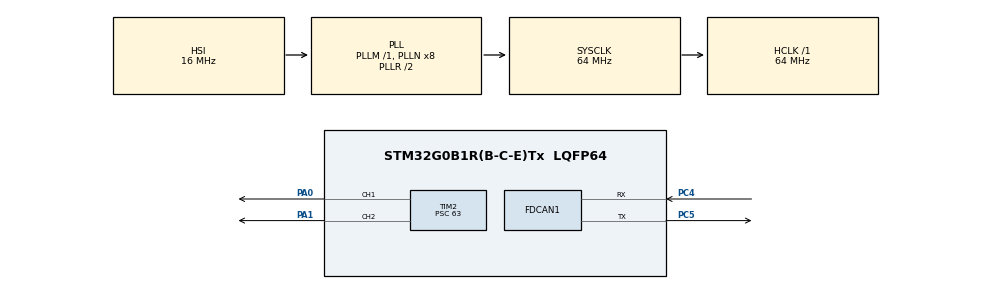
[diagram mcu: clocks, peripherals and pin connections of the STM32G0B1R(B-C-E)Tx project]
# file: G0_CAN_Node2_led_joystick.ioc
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FDCAN1.AutoRetransmission=ENABLE
FDCAN1.CalculateBaudRateNominal=500000
FDCAN1.CalculateTimeBitNominal=2000
FDCAN1.CalculateTimeQuantumNominal=125.0
FDCAN1.Mode=FDCAN_MODE_NORMAL
FDCAN1.NominalPrescaler=8
FDCAN1.NominalTimeSeg1=13
FDCAN1.NominalTimeSeg2=2
FDCAN1.StdFiltersNbr=1
Mcu.Family=STM32G0
Mcu.Name=STM32G0B1R(B-C-E)Tx
Mcu.Package=LQFP64
NVIC.TIM16_FDCAN_IT0_IRQn=true\:0\:0\:false\:false\:true\:true\:true\:true
PA0.PinState=GPIO_PIN_SET
PA0.Signal=S_TIM2_CH1_ETR
PA1.PinState=GPIO_PIN_SET
PA1.Signal=S_TIM2_CH2
PA13.Mode=Serial_Wire
PA13.Signal=SYS_SWDIO
PA14-BOOT0.Mode=Serial_Wire
PA14-BOOT0.Signal=SYS_SWCLK
PC4.Mode=FDCAN_Activate
PC4.Signal=FDCAN1_RX
PC5.Mode=FDCAN_Activate
PC5.Signal=FDCAN1_TX
PF0-OSC_IN\ (PF0).Mode=HSE-External-Oscillator
PF0-OSC_IN\ (PF0).Signal=RCC_OSC_IN
PF1-OSC_OUT\ (PF1).Mode=HSE-External-Oscillator
PF1-OSC_OUT\ (PF1).Signal=RCC_OSC_OUT
ProjectManager.HeapSize=0x200
ProjectManager.StackSize=0x400
ProjectManager.TargetToolchain=STM32CubeIDE
RCC.ADCFreq_Value=64000000
RCC.AHBFreq_Value=64000000
RCC.CortexFreq_Value=64000000
RCC.EXTERNAL_CLOCK_VALUE=48000
RCC.HCLKFreq_Value=64000000
RCC.HSE_VALUE=8000000
RCC.HSI48_VALUE=48000000
RCC.HSI_VALUE=16000000
RCC.LSE_VALUE=32768
RCC.SYSCLKFreq_VALUE=64000000
RCC.SYSCLKSource=RCC_SYSCLKSOURCE_PLLCLK
RCC.USBFreq_Value=48000000
RCC.VCOOutputFreq_Value=128000000
SH.S_TIM2_CH1_ETR.0=TIM2_CH1,PWM Generation1 CH1
SH.S_TIM2_CH2.0=TIM2_CH2,PWM Generation2 CH2
TIM2.Channel-PWM\ Generation1\ CH1=TIM_CHANNEL_1
TIM2.Channel-PWM\ Generation2\ CH2=TIM_CHANNEL_2
TIM2.Period=4095
TIM2.Prescaler=63
VP_SYS_VS_DBSignals.Mode=DisableDeadBatterySignals
board=custom

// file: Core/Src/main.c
/* USER CODE BEGIN Header */
/**
  ******************************************************************************
  * @file           : main.c
  * @brief          : Main program body
  ******************************************************************************
  * @attention
  *
  * Copyright (c) 2026 STMicroelectronics.
  * All rights reserved.
  *
  * This software is licensed under terms that can be found in the LICENSE file
  * in the root directory of this software component.
  * If no LICENSE file comes with this software, it is provided AS-IS.
  *
  ******************************************************************************
  */
/* USER CODE END Header */
#include "main.h"

FDCAN_HandleTypeDef hfdcan1;

TIM_HandleTypeDef htim2;

/* USER CODE BEGIN PV */
FDCAN_RxHeaderTypeDef RxHeader;

uint8_t rxdata[8];
uint16_t joystick = 0;
uint16_t leftpwm = 0;
uint16_t rightpwm = 0;
volatile int msg_received = 0;
/* USER CODE END PV */

void SystemClock_Config(void);
static void MX_GPIO_Init(void);
static void MX_FDCAN1_Init(void);
static void MX_TIM2_Init(void);

/* USER CODE BEGIN 0 */
void HAL_FDCAN_RxFifo0Callback(FDCAN_HandleTypeDef *hfdcan, uint32_t RxFifo0ITs)

{

	if(RxFifo0ITs & FDCAN_IT_RX_FIFO0_NEW_MESSAGE)
	{
		msg_received = 1;
		HAL_FDCAN_GetRxMessage(hfdcan, FDCAN_RX_FIFO0, &RxHeader, rxdata);

		joystick = (rxdata[0]<<8) | rxdata[1];

		if(joystick >1948 && joystick<2148)
		{
			leftpwm = 0;
			rightpwm = 0;
		}
		else if(joystick < 2048)
		{
			leftpwm = (2048 - joystick)*2;
			rightpwm = 0;
		}
		else if (joystick > 2048)
		{
			leftpwm = 0;
			rightpwm = (joystick - 2048)*2;
		}

		__HAL_TIM_SET_COMPARE(&htim2, TIM_CHANNEL_1,leftpwm );
		__HAL_TIM_SET_COMPARE(&htim2, TIM_CHANNEL_2,rightpwm );
	}
}
/* USER CODE END 0 */

int main(void)
{

  /* MCU Configuration--------------------------------------------------------*/

  /* Reset of all peripherals, Initializes the Flash interface and the Systick. */
  HAL_Init();

  /* Configure the system clock */
  SystemClock_Config();

  /* Initialize all configured peripherals */
  MX_GPIO_Init();
  MX_FDCAN1_Init();
  MX_TIM2_Init();
  /* USER CODE BEGIN 2 */
  HAL_FDCAN_Start(&hfdcan1);

  HAL_FDCAN_ActivateNotification(&hfdcan1, FDCAN_IT_RX_FIFO0_NEW_MESSAGE, 0);
  HAL_TIM_Base_Start(&htim2);
  HAL_TIM_PWM_Start(&htim2,	TIM_CHANNEL_1);
  HAL_TIM_PWM_Start(&htim2,	TIM_CHANNEL_2);

  if(HAL_FDCAN_ActivateNotification(&hfdcan1, FDCAN_IT_RX_FIFO0_NEW_MESSAGE, 0) != HAL_OK)
        {
      	  Error_Handler();
        }
  /* USER CODE END 2 */

  /* Infinite loop */
  while (1)
  {

  }
}

void SystemClock_Config(void)
{
  RCC_OscInitTypeDef RCC_OscInitStruct = {0};
  RCC_ClkInitTypeDef RCC_ClkInitStruct = {0};

  /** Configure the main internal regulator output voltage
  */
  HAL_PWREx_ControlVoltageScaling(PWR_REGULATOR_VOLTAGE_SCALE1);

  /** Initializes the RCC Oscillators according to the specified parameters
  * in the RCC_OscInitTypeDef structure.
  */
  RCC_OscInitStruct.OscillatorType = RCC_OSCILLATORTYPE_HSI;
  RCC_OscInitStruct.HSIState = RCC_HSI_ON;
  RCC_OscInitStruct.HSIDiv = RCC_HSI_DIV1;
  RCC_OscInitStruct.HSICalibrationValue = RCC_HSICALIBRATION_DEFAULT;
  RCC_OscInitStruct.PLL.PLLState = RCC_PLL_ON;
  RCC_OscInitStruct.PLL.PLLSource = RCC_PLLSOURCE_HSI;
  RCC_OscInitStruct.PLL.PLLM = RCC_PLLM_DIV1;
  RCC_OscInitStruct.PLL.PLLN = 8;
  RCC_OscInitStruct.PLL.PLLP = RCC_PLLP_DIV2;
  RCC_OscInitStruct.PLL.PLLQ = RCC_PLLQ_DIV2;
  RCC_OscInitStruct.PLL.PLLR = RCC_PLLR_DIV2;
  if (HAL_RCC_OscConfig(&RCC_OscInitStruct) != HAL_OK)
  {
    Error_Handler();
  }

  /** Initializes the CPU, AHB and APB buses clocks
  */
  RCC_ClkInitStruct.ClockType = RCC_CLOCKTYPE_HCLK|RCC_CLOCKTYPE_SYSCLK
                              |RCC_CLOCKTYPE_PCLK1;
  RCC_ClkInitStruct.SYSCLKSource = RCC_SYSCLKSOURCE_PLLCLK;
  RCC_ClkInitStruct.AHBCLKDivider = RCC_SYSCLK_DIV1;
  RCC_ClkInitStruct.APB1CLKDivider = RCC_HCLK_DIV1;

  if (HAL_RCC_ClockConfig(&RCC_ClkInitStruct, FLASH_LATENCY_2) != HAL_OK)
  {
    Error_Handler();
  }
}

static void MX_FDCAN1_Init(void)
{

  hfdcan1.Instance = FDCAN1;
  hfdcan1.Init.ClockDivider = FDCAN_CLOCK_DIV1;
  hfdcan1.Init.FrameFormat = FDCAN_FRAME_CLASSIC;
  hfdcan1.Init.Mode = FDCAN_MODE_NORMAL;
  hfdcan1.Init.AutoRetransmission = ENABLE;
  hfdcan1.Init.TransmitPause = DISABLE;
  hfdcan1.Init.ProtocolException = DISABLE;
  hfdcan1.Init.NominalPrescaler = 8;
  hfdcan1.Init.NominalSyncJumpWidth = 1;
  hfdcan1.Init.NominalTimeSeg1 = 13;
  hfdcan1.Init.NominalTimeSeg2 = 2;
  hfdcan1.Init.DataPrescaler = 1;
  hfdcan1.Init.DataSyncJumpWidth = 1;
  hfdcan1.Init.DataTimeSeg1 = 1;
  hfdcan1.Init.DataTimeSeg2 = 1;
  hfdcan1.Init.StdFiltersNbr = 1;
  hfdcan1.Init.ExtFiltersNbr = 0;
  hfdcan1.Init.TxFifoQueueMode = FDCAN_TX_FIFO_OPERATION;
  if (HAL_FDCAN_Init(&hfdcan1) != HAL_OK)
  {
    Error_Handler();
  }
  /* USER CODE BEGIN FDCAN1_Init 2 */
  FDCAN_FilterTypeDef filterlol;

  filterlol.IdType = FDCAN_STANDARD_ID;
  filterlol.FilterType = FDCAN_FILTER_MASK;
  filterlol.FilterConfig = FDCAN_FILTER_TO_RXFIFO0;
  filterlol.FilterIndex = 0;
  filterlol.FilterID1 = 0x000;
  filterlol.FilterID2 = 0x000;

  if(HAL_FDCAN_ConfigFilter(&hfdcan1, &filterlol) != HAL_OK)
  {
      Error_Handler();
  }

  if(HAL_FDCAN_ConfigGlobalFilter(&hfdcan1,
      FDCAN_ACCEPT_IN_RX_FIFO0,
      FDCAN_ACCEPT_IN_RX_FIFO0,
      FDCAN_REJECT_REMOTE,
      FDCAN_REJECT_REMOTE) != HAL_OK)
  {
      Error_Handler();
  }
  /* USER CODE END FDCAN1_Init 2 */

}

static void MX_TIM2_Init(void)
{

  TIM_MasterConfigTypeDef sMasterConfig = {0};
  TIM_OC_InitTypeDef sConfigOC = {0};

  htim2.Instance = TIM2;
  htim2.Init.Prescaler = 63;
  htim2.Init.CounterMode = TIM_COUNTERMODE_UP;
  htim2.Init.Period = 4095;
  htim2.Init.ClockDivision = TIM_CLOCKDIVISION_DIV1;
  htim2.Init.AutoReloadPreload = TIM_AUTORELOAD_PRELOAD_DISABLE;
  if (HAL_TIM_PWM_Init(&htim2) != HAL_OK)
  {
    Error_Handler();
  }
  sMasterConfig.MasterOutputTrigger = TIM_TRGO_RESET;
  sMasterConfig.MasterSlaveMode = TIM_MASTERSLAVEMODE_DISABLE;
  if (HAL_TIMEx_MasterConfigSynchronization(&htim2, &sMasterConfig) != HAL_OK)
  {
    Error_Handler();
  }
  sConfigOC.OCMode = TIM_OCMODE_PWM1;
  sConfigOC.Pulse = 0;
  sConfigOC.OCPolarity = TIM_OCPOLARITY_HIGH;
  sConfigOC.OCFastMode = TIM_OCFAST_DISABLE;
  if (HAL_TIM_PWM_ConfigChannel(&htim2, &sConfigOC, TIM_CHANNEL_1) != HAL_OK)
  {
    Error_Handler();
  }
  if (HAL_TIM_PWM_ConfigChannel(&htim2, &sConfigOC, TIM_CHANNEL_2) != HAL_OK)
  {
    Error_Handler();
  }
  HAL_TIM_MspPostInit(&htim2);

}

static void MX_GPIO_Init(void)
{

  /* GPIO Ports Clock Enable */
  __HAL_RCC_GPIOF_CLK_ENABLE();
  __HAL_RCC_GPIOA_CLK_ENABLE();
  __HAL_RCC_GPIOC_CLK_ENABLE();

}

void Error_Handler(void)
{
  __disable_irq();
  while (1)
  {
  }
}
